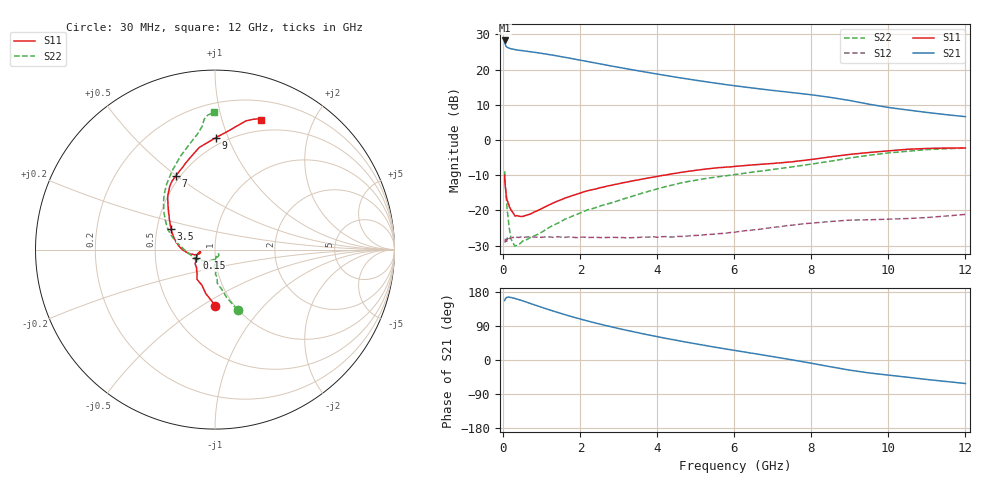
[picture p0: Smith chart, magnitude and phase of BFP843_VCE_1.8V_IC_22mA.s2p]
! Infineon Technologies  Discrete & RF Semiconductors
! BFP843
! VCE =  1.8 V,  IC =  22 mA
! Common Emitter S-Parameters:  Aug 2013
# GHz  S  MA  R  50
!  f  S11  S21  S12  S22
! GHz  MAG  ANG  MAG  ANG  MAG  ANG  MAG  ANG
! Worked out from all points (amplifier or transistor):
!   103 points, 30 MHz to 12 GHz, reference 50 ohm
!   highest |S21| = 28.3 dB at 30 MHz (marker M1)
!   |S21| within 3 dB of that: start of sweep to 562.5 MHz
!   unconditionally stable (mu >= 1): 78.29 MHz to 84.85 MHz; 109.6 MHz to 10.78 GHz
!   at 400 MHz: K = 1.03, MAG = 25.6 dB, |S12| = -27.7 dB
!   at 3.7 GHz: K = 1.36, MAG = 19.8 dB, |S12| = -27.6 dB
!   at 12 GHz: K = 0.86, MSG = 13.9 dB, |S12| = -21.1 dB
!   S11 on the Smith chart (normalised r, x): 30 MHz: 0.83, -0.57; 150 MHz: 0.81, -0.08; 3.5 GHz: 0.59, +0.15; 7 GHz: 0.48, +0.49; 9 GHz: 0.44, +0.90; 12 GHz: 0.38, +1.35
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0.03  0.313 -89.5  25.88 156.8  0.0348 25.8  0.3594 -69.5
0.04  0.2492 -102.1  23.75 158.8  0.0353 21.1  0.2734 -76.4
0.05  0.2114 -110.1  22.64 161.9  0.0389 12.8  0.2208 -80.7
0.07  0.1656 -127.1  21.3 164.1  0.0358 12.8  0.152 -85.9
0.1  0.1367 -143.6  20.65 165.6  0.0406 11.5  0.097 -92.7
0.15  0.1137 -156.0  20.13 165.7  0.0399 10.1  0.0561 -88.3
0.3  0.0831 -171.2  19.2 162.4  0.0401 5.7  0.031 -55.5
0.8  0.0947 -164.6  17.59 145.7  0.0417 2.2  0.0434 -72.1
1.2  0.1204 -166.2  16.27 132.2  0.0419 1.0  0.0576 -100.4
1.6  0.1492 -172.3  14.92 119.6  0.0414 0.6  0.0751 -120.5
2.1  0.1841 179.2  13.25 105.3  0.0416 -0.3  0.0972 -140.7
2.7  0.2217 168.7  11.5 90.0  0.0412 1.8  0.1233 -159.3
3.1  0.2466 161.6  10.5 80.6  0.0411 2.0  0.1443 -169.9
3.5  0.2706 154.8  9.599 71.9  0.0412 3.6  0.1684 -179.2
4.1  0.3113 145.1  8.436 59.5  0.0422 5.4  0.2094 170.2
5  0.3711 135.0  7.047 42.6  0.044 8.7  0.2681 159.8
6.1  0.4243 127.0  5.797 23.8  0.0499 10.8  0.3271 148.3
7  0.4634 118.2  5.049 8.8  0.0573 10.1  0.3811 138.8
8.5  0.5757 98.8  4.019 -17.9  0.0695 2.6  0.4993 118.6
9  0.6236 89.6  3.63 -26.8  0.0727 -1.7  0.5541 110.4
10.5  0.7373 76.5  2.663 -45.5  0.0765 -8.6  0.6917 95.9
12  0.7684 70.4  2.142 -62.0  0.0876 -15.3  0.7646 90.6
